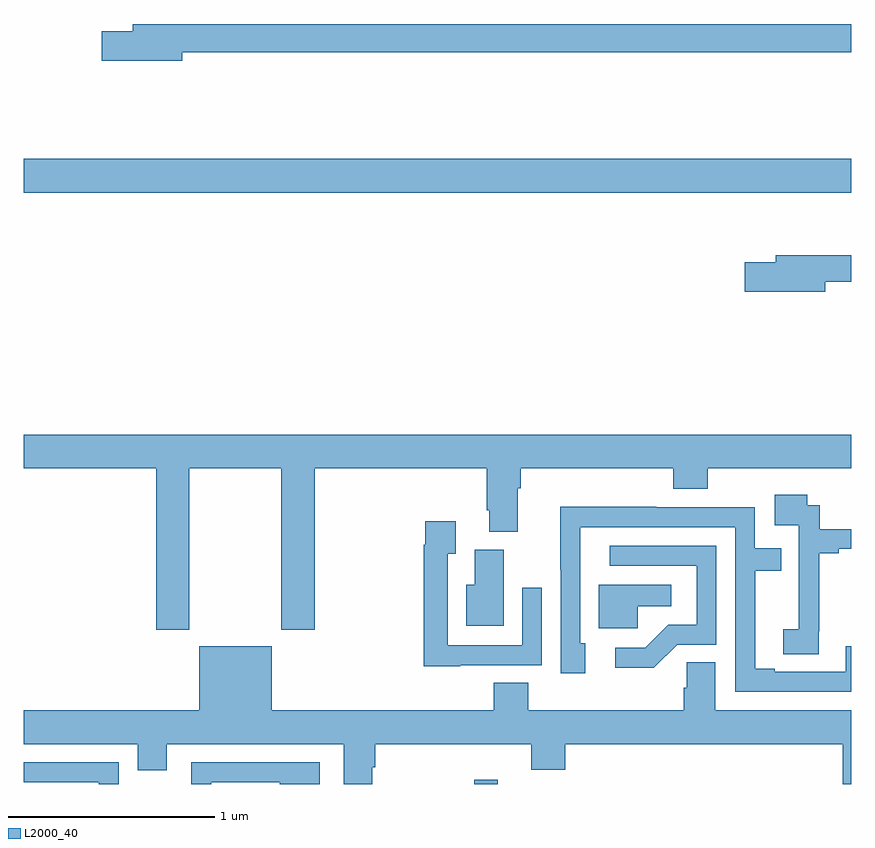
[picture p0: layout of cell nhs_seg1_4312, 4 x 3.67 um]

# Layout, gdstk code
import gdstk
lib = gdstk.Library(unit=1e-6, precision=1e-09)
def R(c, l, rs):  # rectangles x0, y0, x1, y1
    for r in rs: c.add(gdstk.rectangle(r[:2], r[2:], *l))
def P(c, l, *ps):  # polygons
    for p in ps: c.add(gdstk.Polygon(p, *l))
L2000_40 = (2000, 40)

nhs_seg1_4312 = lib.new_cell('nhs_seg1_4312')
R(nhs_seg1_4312, L2000_40, [(347.177,558.199,347.292,558.22), (345,561.056,349,561.22)])
P(nhs_seg1_4312, L2000_40, [(345.766,561.736),(349,561.736),(349,561.872),(345.527,561.872),(345.527,561.836),(345.378,561.836),(345.378,561.694),(345.766,561.694)],
  [(348.874,560.626),(349,560.626),(349,560.755),(348.635,560.755),(348.635,560.721),(348.486,560.721),(348.486,560.579),(348.874,560.579)],
  [(345.801,559.724),(346.246,559.724),(346.246,558.945),(346.406,558.945),(346.406,559.724),(347.237,559.724),(347.237,559.522),(347.249,559.522),(347.249,559.417),(347.389,559.417),(347.389,559.628),(347.402,559.628),(347.402,559.724),(348.14,559.724),(348.14,559.625),(348.305,559.625),(348.305,559.724),(349,559.724),(349,559.888),(345,559.888),(345,559.724),(345.641,559.724),(345.641,558.945),(345.801,558.945)],
  [(348.842,558.937),(348.844,558.937),(348.844,559.315),(348.94,559.315),(348.94,559.335),(349,559.335),(349,559.431),(348.848,559.431),(348.848,559.545),(348.786,559.545),(348.786,559.597),(348.63,559.597),(348.63,559.449),(348.747,559.449),(348.747,559.145),(348.746,559.145),(348.746,558.948),(348.672,558.948),(348.672,558.826),(348.842,558.826)],
  [(349,558.864),(348.972,558.864),(348.972,558.741),(348.631,558.741),(348.631,558.756),(348.535,558.756),(348.535,559.23),(348.662,559.23),(348.662,559.338),(348.534,559.338),(348.534,559.536),(348.056,559.536),(348.056,559.538),(347.594,559.538),(347.594,559.234),(347.595,559.234),(347.595,558.735),(347.713,558.735),(347.713,558.879),(347.691,558.879),(347.691,559.44),(348.438,559.44),(348.438,558.645),(349,558.645)],
  [(347.109,558.774),(347.505,558.774),(347.505,559.147),(347.409,559.147),(347.409,558.87),(347.049,558.87),(347.049,559.312),(347.089,559.312),(347.089,559.468),(346.941,559.468),(346.941,559.355),(346.933,559.355),(346.933,558.767),(347.109,558.767)],
  [(348.159,558.873),(348.348,558.873),(348.348,559.35),(347.832,559.35),(347.832,559.254),(348.252,559.254),(348.252,558.969),(348.114,558.969),(348.003,558.858),(347.859,558.858),(347.859,558.761),(348.046,558.761)],
  [(347.32,559.332),(347.18,559.332),(347.18,559.162),(347.138,559.162),(347.138,558.965),(347.32,558.965)],
  [(347.967,559.058),(348.13,559.058),(348.13,559.162),(347.78,559.162),(347.78,558.951),(347.967,558.951)],
  [(346.685,558.28),(346.7,558.28),(346.7,558.392),(347.453,558.392),(347.453,558.268),(347.618,558.268),(347.618,558.392),(348.959,558.392),(348.959,558.199),(349,558.199),(349,558.556),(348.343,558.556),(348.343,558.788),(348.204,558.788),(348.204,558.665),(348.191,558.665),(348.191,558.556),(347.438,558.556),(347.438,558.689),(347.273,558.689),(347.273,558.556),(346.198,558.556),(346.198,558.865),(345.848,558.865),(345.848,558.556),(345,558.556),(345,558.392),(345.551,558.392),(345.551,558.265),(345.691,558.265),(345.691,558.392),(346.547,558.392),(346.547,558.199),(346.685,558.199)],
  [(345.906,558.207),(346.238,558.207),(346.238,558.199),(346.431,558.199),(346.431,558.303),(345.81,558.303),(345.81,558.199),(345.906,558.199)],
  [(345.459,558.303),(345,558.303),(345,558.207),(345.363,558.207),(345.363,558.199),(345.459,558.199)])

lib.write_gds('nhs_seg1_4312.gds')
